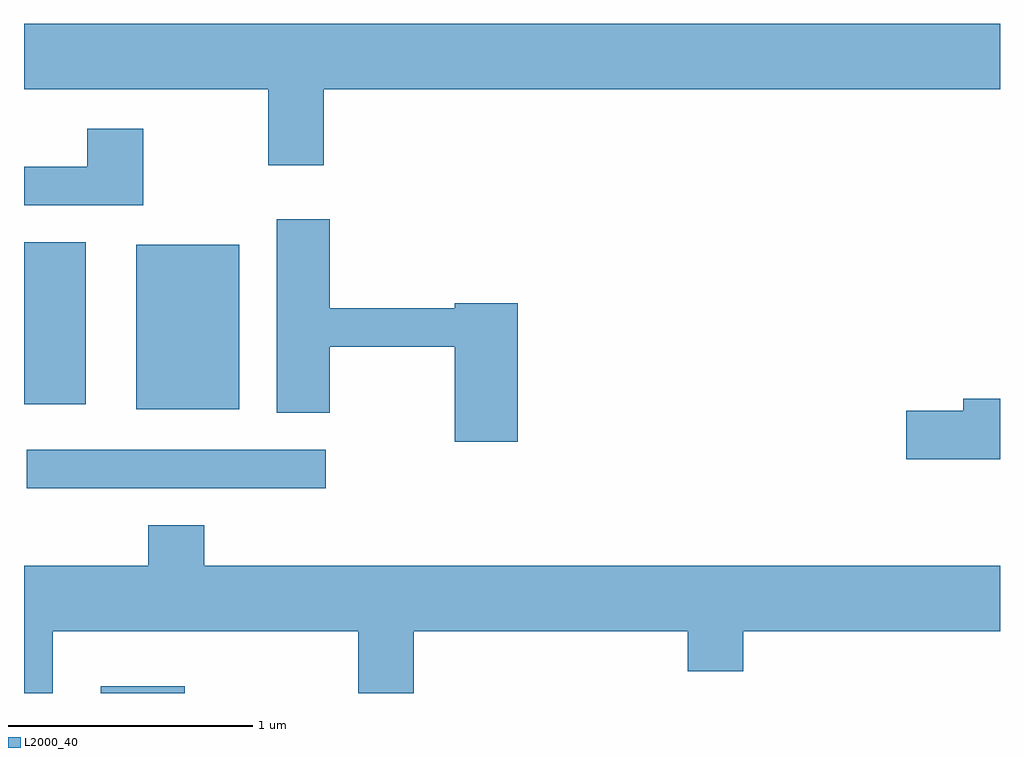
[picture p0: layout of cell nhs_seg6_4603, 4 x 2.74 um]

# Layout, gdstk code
import gdstk
lib = gdstk.Library(unit=1e-6, precision=1e-09)
def R(c, l, rs):  # rectangles x0, y0, x1, y1
    for r in rs: c.add(gdstk.rectangle(r[:2], r[2:], *l))
def P(c, l, *ps):  # polygons
    for p in ps: c.add(gdstk.Polygon(p, *l))
L2000_40 = (2000, 40)

nhs_seg6_4603 = lib.new_cell('nhs_seg6_4603')
R(nhs_seg6_4603, L2000_40, [(325.926,1614.162,326.269,1614.189), (325.623,1615.001,326.848,1615.159), (326.071,1615.326,326.494,1615.999), (325.611,1615.346,325.864,1616.009)])
P(nhs_seg6_4603, L2000_40, [(326.839,1616.636),(329.611,1616.636),(329.611,1616.904),(325.611,1616.904),(325.611,1616.636),(326.611,1616.636),(326.611,1616.326),(326.839,1616.326)],
  [(326.099,1616.474),(325.871,1616.474),(325.871,1616.319),(325.611,1616.319),(325.611,1616.161),(326.099,1616.161)],
  [(327.634,1615.759),(327.376,1615.759),(327.376,1615.739),(326.864,1615.739),(326.864,1616.104),(326.646,1616.104),(326.646,1615.311),(326.864,1615.311),(326.864,1615.581),(327.376,1615.581),(327.376,1615.191),(327.634,1615.191)],
  [(329.611,1615.369),(329.461,1615.369),(329.461,1615.319),(329.226,1615.319),(329.226,1615.121),(329.611,1615.121)],
  [(325.729,1614.416),(326.981,1614.416),(326.981,1614.162),(327.209,1614.162),(327.209,1614.416),(328.331,1614.416),(328.331,1614.251),(328.559,1614.251),(328.559,1614.416),(329.611,1614.416),(329.611,1614.684),(326.349,1614.684),(326.349,1614.849),(326.121,1614.849),(326.121,1614.684),(325.611,1614.684),(325.611,1614.162),(325.729,1614.162)])

lib.write_gds('nhs_seg6_4603.gds')
